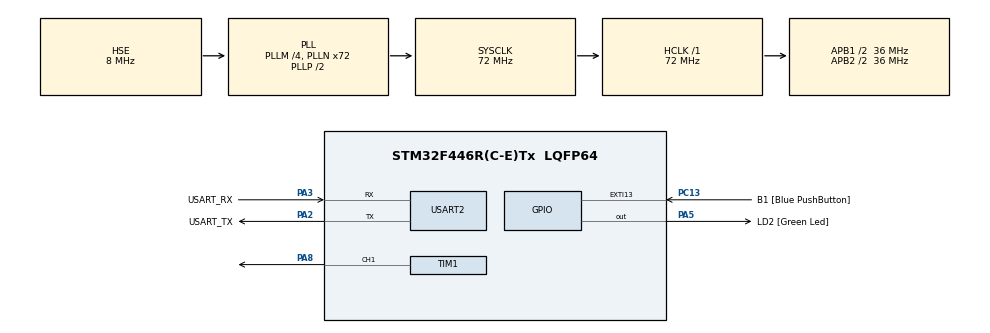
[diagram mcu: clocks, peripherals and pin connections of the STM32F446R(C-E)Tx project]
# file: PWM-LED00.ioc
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Dma.Request0=TIM1_CH1
Dma.TIM1_CH1.0.Direction=DMA_MEMORY_TO_PERIPH
Dma.TIM1_CH1.0.FIFOMode=DMA_FIFOMODE_DISABLE
Dma.TIM1_CH1.0.Instance=DMA2_Stream1
Dma.TIM1_CH1.0.MemDataAlignment=DMA_MDATAALIGN_HALFWORD
Dma.TIM1_CH1.0.MemInc=DMA_MINC_ENABLE
Dma.TIM1_CH1.0.Mode=DMA_NORMAL
Dma.TIM1_CH1.0.PeriphDataAlignment=DMA_PDATAALIGN_HALFWORD
Dma.TIM1_CH1.0.PeriphInc=DMA_PINC_DISABLE
Dma.TIM1_CH1.0.Priority=DMA_PRIORITY_LOW
Mcu.Family=STM32F4
Mcu.Name=STM32F446R(C-E)Tx
Mcu.Package=LQFP64
NVIC.DMA2_Stream1_IRQn=true\:0\:0\:false\:false\:true\:false\:true\:true
NVIC.EXTI15_10_IRQn=true\:0\:0\:false\:false\:true\:true\:true\:true
NVIC.PriorityGroup=NVIC_PRIORITYGROUP_0
PA13.GPIO_Label=TMS
PA13.Mode=Serial_Wire
PA13.Signal=SYS_JTMS-SWDIO
PA14.GPIO_Label=TCK
PA14.Mode=Serial_Wire
PA14.Signal=SYS_JTCK-SWCLK
PA2.GPIO_Label=USART_TX
PA2.Mode=Asynchronous
PA2.Signal=USART2_TX
PA3.GPIO_Label=USART_RX
PA3.Mode=Asynchronous
PA3.Signal=USART2_RX
PA5.GPIO_Label=LD2 [Green Led]
PA5.Signal=GPIO_Output
PA8.Signal=S_TIM1_CH1
PB3.GPIO_Label=SWO
PB3.Signal=SYS_JTDO-SWO
PC13.GPIO_Label=B1 [Blue PushButton]
PC13.GPIO_ModeDefaultEXTI=GPIO_MODE_IT_FALLING
PC13.Signal=GPXTI13
PC14-OSC32_IN.Mode=LSE-External-Oscillator
PC14-OSC32_IN.Signal=RCC_OSC32_IN
PC15-OSC32_OUT.Mode=LSE-External-Oscillator
PC15-OSC32_OUT.Signal=RCC_OSC32_OUT
PH0-OSC_IN.Mode=HSE-External-Clock-Source
PH0-OSC_IN.Signal=RCC_OSC_IN
PH1-OSC_OUT.Mode=HSE-External-Clock-Source
PH1-OSC_OUT.Signal=RCC_OSC_OUT
ProjectManager.HeapSize=0x200
ProjectManager.StackSize=0x400
ProjectManager.TargetToolchain=STM32CubeIDE
RCC.48MHZClocksFreq_Value=84000000
RCC.AHBFreq_Value=72000000
RCC.APB1CLKDivider=RCC_HCLK_DIV2
RCC.APB1Freq_Value=36000000
RCC.APB1TimFreq_Value=72000000
RCC.APB2CLKDivider=RCC_HCLK_DIV2
RCC.APB2Freq_Value=36000000
RCC.APB2TimFreq_Value=72000000
RCC.CortexFreq_Value=72000000
RCC.FLatency-AdvancedSettings=FLASH_LATENCY_2
RCC.HCLKFreq_Value=72000000
RCC.HSE_VALUE=8000000
RCC.HSI_VALUE=16000000
RCC.PLLM=4
RCC.PLLN=72
RCC.PLLSourceVirtual=RCC_PLLSOURCE_HSE
RCC.SYSCLKFreq_VALUE=72000000
RCC.SYSCLKSource=RCC_SYSCLKSOURCE_PLLCLK
RCC.USBFreq_Value=72000000
RCC.VCOOutputFreq_Value=144000000
SH.S_TIM1_CH1.0=TIM1_CH1,PWM Generation1 CH1
TIM1.Channel-PWM\ Generation1\ CH1=TIM_CHANNEL_1
TIM1.Period=90-1
USART2.VirtualMode=VM_ASYNC
VP_TIM1_VS_ClockSourceINT.Mode=Internal
board=NUCLEO-F446RE

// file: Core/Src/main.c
/* USER CODE BEGIN Header */
/**
  ******************************************************************************
  * @file           : main.c
  * @brief          : Main program body
  ******************************************************************************
  * @attention
  *
  * Copyright (c) 2025 STMicroelectronics.
  * All rights reserved.
  *
  * This software is licensed under terms that can be found in the LICENSE file
  * in the root directory of this software component.
  * If no LICENSE file comes with this software, it is provided AS-IS.
  *
  ******************************************************************************
  */
/* USER CODE END Header */
#include "main.h"

/* USER CODE BEGIN Includes */
#include "math.h"
/* USER CODE END Includes */

TIM_HandleTypeDef htim1;
DMA_HandleTypeDef hdma_tim1_ch1;

UART_HandleTypeDef huart2;

/* USER CODE BEGIN PV */
#define MAX_LED 36*2
#define USE_BRIGHTNESS 1

int n = 9;
uint8_t LED_Data[MAX_LED][4];// a 2 dimension array that stores the 37 list and each of the 37 list hold an array with size  = 4;
uint8_t LED_Mod[MAX_LED][4];
/* USER CODE END PV */

void SystemClock_Config(void);
static void MX_GPIO_Init(void);
static void MX_DMA_Init(void);
static void MX_USART2_UART_Init(void);
static void MX_TIM1_Init(void);

/* USER CODE BEGIN 0 */
int datasentflag = 0;

void HAL_TIM_PWM_PulseFinishedCallback(TIM_HandleTypeDef *htim){
	// this ensure that the PWM is sent just once and once set sets back flat

	HAL_TIM_PWM_Stop_DMA(&htim1, TIM_CHANNEL_1);
	datasentflag=1;
}

void Set_LED (int LEDnum, int Red, int Green, int Blue)
{
	// set the second order array to place the order that follows the data sheet.
	// this set the data to be
	LED_Data[LEDnum][0] = LEDnum;
	LED_Data[LEDnum][1] = Green;
	LED_Data[LEDnum][2] = Red;
	LED_Data[LEDnum][3] = Blue;
}

#define PI 3.14159265

void Set_Brightness (int brightness)  // 0-45
{
#if USE_BRIGHTNESS

	if (brightness > 45) brightness = 45;
	for (int i=0; i<MAX_LED; i++)
	{
		LED_Mod[i][0] = LED_Data[i][0];
		for (int j=1; j<4; j++)
		{
			float angle = 90-brightness;  // in degrees
			angle = angle*PI / 180;  // in rad
			LED_Mod[i][j] = (LED_Data[i][j])/(tan(angle));
		}
	}

#endif

}

uint16_t pwmData[(24*MAX_LED)+50];

void WS2812_Send (void)
{
	uint32_t indx=0;
	uint32_t color;

	for (int i= 0; i<MAX_LED; i++)
	{
//#if USE_BRIGHTNESS
	//	color = ((LED_Mod[i][1]<<16) | (LED_Mod[i][2]<<8) | (LED_Mod[i][3]));
//#else
		color = ((LED_Data[i][1]<<16) | (LED_Data[i][2]<<8) | (LED_Data[i][3]));
		//color is a 32bit signed integer we will using the 24 LSB
		// the let of the colors is a list of 24. ranging from 23-0. LED_Data[i][1]<<16 cotrols green. LED_Data[i][2]<<16 controls red. LED_Data[i][2]<<16 blue
//#endif

		for (int j=23; j>=0; j--)
		{
			// these controls the each data point, the period if at the instance the value is 2'b1 the period will be
			if (color&(1<<j))
			{
				pwmData[indx] = 60;  // 2/3 of 90
			}

			else pwmData[indx] = 30;  // 1/3 of 90

			indx++;
		}
		// this nest loop will run for MAX_lED size(72) x 24. note this is where we get the first set of the array for pwmData size from.
		//the LED gives the first 24bit to ledindex [0] and the next 24 bit to index 1 in the order to it reaches the end.

	}

	for (int i=0; i<50; i++)
	{
		pwmData[indx] = 0;
		indx++;
	}
	// once the loop above is completed this loop tells the LED that we are don sending DATA. VERY important.

	HAL_TIM_PWM_Start_DMA(&htim1, TIM_CHANNEL_1, (uint32_t *)pwmData, indx);
	//while (!datasentflag){};
	//datasentflag = 0;
}
/* USER CODE END 0 */

int main(void)
{

  /* MCU Configuration--------------------------------------------------------*/

  /* Reset of all peripherals, Initializes the Flash interface and the Systick. */
  HAL_Init();

  /* Configure the system clock */
  SystemClock_Config();

  /* Initialize all configured peripherals */
  MX_GPIO_Init();
  MX_DMA_Init();
  MX_USART2_UART_Init();
  MX_TIM1_Init();
  /* USER CODE BEGIN 2 */

  Set_LED(MAX_LED-2,255,0,0);
//  Set_LED(0,25,100,0);
//  Set_LED(2,105,100,0);
  Set_Brightness(45);
  WS2812_Send();
  /* USER CODE END 2 */

  /* Infinite loop */
  /* USER CODE BEGIN WHILE */
  while(datasentflag)
  {
	  HAL_Delay(2000);
	  datasentflag = 2;
  }
  while (1)
  {

	  //NVIC_SystemReset();
	  //datasentflag = 0;

    /* USER CODE END WHILE */

  }
}

void SystemClock_Config(void)
{
  RCC_OscInitTypeDef RCC_OscInitStruct = {0};
  RCC_ClkInitTypeDef RCC_ClkInitStruct = {0};

  /** Configure the main internal regulator output voltage
  */
  __HAL_RCC_PWR_CLK_ENABLE();
  __HAL_PWR_VOLTAGESCALING_CONFIG(PWR_REGULATOR_VOLTAGE_SCALE3);

  /** Initializes the RCC Oscillators according to the specified parameters
  * in the RCC_OscInitTypeDef structure.
  */
  RCC_OscInitStruct.OscillatorType = RCC_OSCILLATORTYPE_HSE;
  RCC_OscInitStruct.HSEState = RCC_HSE_BYPASS;
  RCC_OscInitStruct.PLL.PLLState = RCC_PLL_ON;
  RCC_OscInitStruct.PLL.PLLSource = RCC_PLLSOURCE_HSE;
  RCC_OscInitStruct.PLL.PLLM = 4;
  RCC_OscInitStruct.PLL.PLLN = 72;
  RCC_OscInitStruct.PLL.PLLP = RCC_PLLP_DIV2;
  RCC_OscInitStruct.PLL.PLLQ = 2;
  RCC_OscInitStruct.PLL.PLLR = 2;
  if (HAL_RCC_OscConfig(&RCC_OscInitStruct) != HAL_OK)
  {
    Error_Handler();
  }

  /** Initializes the CPU, AHB and APB buses clocks
  */
  RCC_ClkInitStruct.ClockType = RCC_CLOCKTYPE_HCLK|RCC_CLOCKTYPE_SYSCLK
                              |RCC_CLOCKTYPE_PCLK1|RCC_CLOCKTYPE_PCLK2;
  RCC_ClkInitStruct.SYSCLKSource = RCC_SYSCLKSOURCE_PLLCLK;
  RCC_ClkInitStruct.AHBCLKDivider = RCC_SYSCLK_DIV1;
  RCC_ClkInitStruct.APB1CLKDivider = RCC_HCLK_DIV2;
  RCC_ClkInitStruct.APB2CLKDivider = RCC_HCLK_DIV2;

  if (HAL_RCC_ClockConfig(&RCC_ClkInitStruct, FLASH_LATENCY_2) != HAL_OK)
  {
    Error_Handler();
  }
}

static void MX_TIM1_Init(void)
{

  TIM_ClockConfigTypeDef sClockSourceConfig = {0};
  TIM_MasterConfigTypeDef sMasterConfig = {0};
  TIM_OC_InitTypeDef sConfigOC = {0};
  TIM_BreakDeadTimeConfigTypeDef sBreakDeadTimeConfig = {0};

  htim1.Instance = TIM1;
  htim1.Init.Prescaler = 0;
  htim1.Init.CounterMode = TIM_COUNTERMODE_UP;
  htim1.Init.Period = 90-1;
  htim1.Init.ClockDivision = TIM_CLOCKDIVISION_DIV1;
  htim1.Init.RepetitionCounter = 0;
  htim1.Init.AutoReloadPreload = TIM_AUTORELOAD_PRELOAD_DISABLE;
  if (HAL_TIM_Base_Init(&htim1) != HAL_OK)
  {
    Error_Handler();
  }
  sClockSourceConfig.ClockSource = TIM_CLOCKSOURCE_INTERNAL;
  if (HAL_TIM_ConfigClockSource(&htim1, &sClockSourceConfig) != HAL_OK)
  {
    Error_Handler();
  }
  if (HAL_TIM_PWM_Init(&htim1) != HAL_OK)
  {
    Error_Handler();
  }
  sMasterConfig.MasterOutputTrigger = TIM_TRGO_RESET;
  sMasterConfig.MasterSlaveMode = TIM_MASTERSLAVEMODE_DISABLE;
  if (HAL_TIMEx_MasterConfigSynchronization(&htim1, &sMasterConfig) != HAL_OK)
  {
    Error_Handler();
  }
  sConfigOC.OCMode = TIM_OCMODE_PWM1;
  sConfigOC.Pulse = 0;
  sConfigOC.OCPolarity = TIM_OCPOLARITY_HIGH;
  sConfigOC.OCNPolarity = TIM_OCNPOLARITY_HIGH;
  sConfigOC.OCFastMode = TIM_OCFAST_DISABLE;
  sConfigOC.OCIdleState = TIM_OCIDLESTATE_RESET;
  sConfigOC.OCNIdleState = TIM_OCNIDLESTATE_RESET;
  if (HAL_TIM_PWM_ConfigChannel(&htim1, &sConfigOC, TIM_CHANNEL_1) != HAL_OK)
  {
    Error_Handler();
  }
  sBreakDeadTimeConfig.OffStateRunMode = TIM_OSSR_DISABLE;
  sBreakDeadTimeConfig.OffStateIDLEMode = TIM_OSSI_DISABLE;
  sBreakDeadTimeConfig.LockLevel = TIM_LOCKLEVEL_OFF;
  sBreakDeadTimeConfig.DeadTime = 0;
  sBreakDeadTimeConfig.BreakState = TIM_BREAK_DISABLE;
  sBreakDeadTimeConfig.BreakPolarity = TIM_BREAKPOLARITY_HIGH;
  sBreakDeadTimeConfig.AutomaticOutput = TIM_AUTOMATICOUTPUT_DISABLE;
  if (HAL_TIMEx_ConfigBreakDeadTime(&htim1, &sBreakDeadTimeConfig) != HAL_OK)
  {
    Error_Handler();
  }
  HAL_TIM_MspPostInit(&htim1);

}

static void MX_USART2_UART_Init(void)
{

  huart2.Instance = USART2;
  huart2.Init.BaudRate = 115200;
  huart2.Init.WordLength = UART_WORDLENGTH_8B;
  huart2.Init.StopBits = UART_STOPBITS_1;
  huart2.Init.Parity = UART_PARITY_NONE;
  huart2.Init.Mode = UART_MODE_TX_RX;
  huart2.Init.HwFlowCtl = UART_HWCONTROL_NONE;
  huart2.Init.OverSampling = UART_OVERSAMPLING_16;
  if (HAL_UART_Init(&huart2) != HAL_OK)
  {
    Error_Handler();
  }

}

static void MX_DMA_Init(void)
{

  /* DMA controller clock enable */
  __HAL_RCC_DMA2_CLK_ENABLE();

  /* DMA interrupt init */
  /* DMA2_Stream1_IRQn interrupt configuration */
  HAL_NVIC_SetPriority(DMA2_Stream1_IRQn, 0, 0);
  HAL_NVIC_EnableIRQ(DMA2_Stream1_IRQn);

}

static void MX_GPIO_Init(void)
{
  GPIO_InitTypeDef GPIO_InitStruct = {0};

  /* GPIO Ports Clock Enable */
  __HAL_RCC_GPIOC_CLK_ENABLE();
  __HAL_RCC_GPIOH_CLK_ENABLE();
  __HAL_RCC_GPIOA_CLK_ENABLE();
  __HAL_RCC_GPIOB_CLK_ENABLE();

  /*Configure GPIO pin Output Level */
  HAL_GPIO_WritePin(LD2_GPIO_Port, LD2_Pin, GPIO_PIN_RESET);

  /*Configure GPIO pin : B1_Pin */
  GPIO_InitStruct.Pin = B1_Pin;
  GPIO_InitStruct.Mode = GPIO_MODE_IT_FALLING;
  GPIO_InitStruct.Pull = GPIO_NOPULL;
  HAL_GPIO_Init(B1_GPIO_Port, &GPIO_InitStruct);

  /*Configure GPIO pin : LD2_Pin */
  GPIO_InitStruct.Pin = LD2_Pin;
  GPIO_InitStruct.Mode = GPIO_MODE_OUTPUT_PP;
  GPIO_InitStruct.Pull = GPIO_NOPULL;
  GPIO_InitStruct.Speed = GPIO_SPEED_FREQ_LOW;
  HAL_GPIO_Init(LD2_GPIO_Port, &GPIO_InitStruct);

  /* EXTI interrupt init*/
  HAL_NVIC_SetPriority(EXTI15_10_IRQn, 0, 0);
  HAL_NVIC_EnableIRQ(EXTI15_10_IRQn);

}

/* USER CODE BEGIN 4 */
void HAL_GPIO_EXTI_Callback(uint16_t GPIO_Pin)
{
  /* Prevent unused argument(s) compilation warning */
  UNUSED(GPIO_Pin);
  /* NOTE: This function Should not be modified, when the callback is needed,
           the HAL_GPIO_EXTI_Callback could be implemented in the user file
   */
  //datasentflag = 0;
      if(n > 9){
      	datasentflag = 0;
      	NVIC_SystemReset();
      	n = 9;
      }
  Set_LED(n++,255,0,0);
    Set_LED(17,0,255,0);
    Set_Brightness(45);
    WS2812_Send();

    //HAL_Delay(1000);
    //NVIC_SystemReset();

}
/* USER CODE END 4 */

void Error_Handler(void)
{
  __disable_irq();
  while (1)
  {
  }
}
